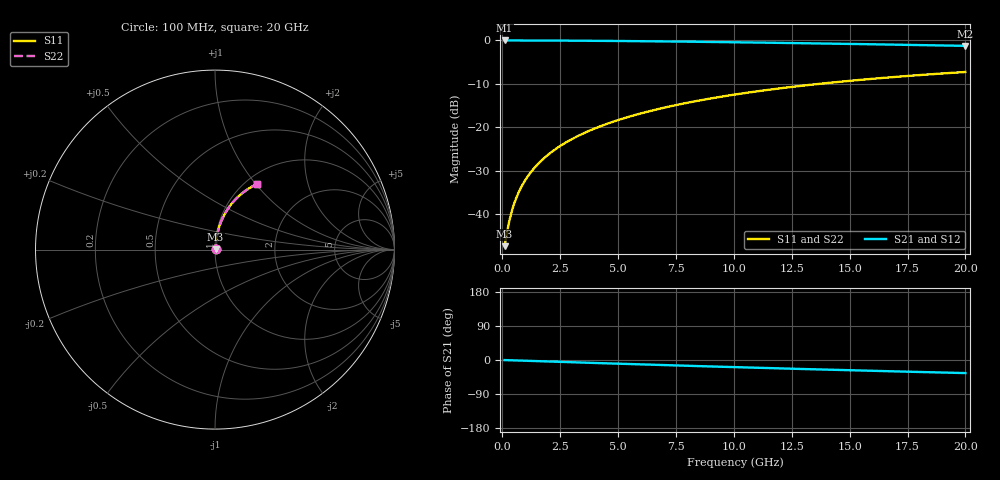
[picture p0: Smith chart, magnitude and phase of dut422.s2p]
! Touchstone file exported from HFSS 2024.1.0
!  File:  C:/UserFiles/LocalFiles/RDL_TSV_Batchsim/temp_RDL_bottom_422_1779683833.aedt
!  Generated:  12:40:07 PM May 25, 2026
!  Design:  RDL_bottom
!  Project:  temp_RDL_bottom_422_1779683833
!  Setup:  Setup1
!  Solution:  Sweep
! Variables:
!  dtsv = 10.80580581um
!  hbump = 3um
!  htsv = 71.13um
!  ldown = 384.78um
!  lrdl = 100um
!  p = 40
!  p1 = 58.03um
!  rhole = 1um
!  t = 450um
!  tdown = 3.5um
!  trdl = 3.915915916um
!  wdown = 11.61um
!  wrdl = 20um
# GHz S MA R 50.000000
! Terminal data exported
! Port[1] = RDL1_T1
! Port[2] = RDL1_T2
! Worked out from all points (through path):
!   200 points, 100 MHz to 20 GHz, reference 50 ohm
!   highest |S21| = -0.03 dB at 100 MHz (marker M1); lowest = -1.3 dB at 20 GHz (marker M2)
!   group delay of S21, straight-line fit = 4.79 ps
!   lowest |S11| = -47.4 dB at 100 MHz (marker M3), VSWR 1.01, Z = 50.3 + j0.25 ohm
!   |S11| at or under -10 dB: start of sweep to 13.73 GHz
!   |S22| runs from -47.4 to -7.3 dB; largest |S21 - S12| = 3.3e-15
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0.1  0.004256 35.7  0.9965 -0.2  0.9965 -0.2  0.004256 35.7
! Gamma 0 0 0 0
! Port Impedance 50 0 50 0
0.2  0.006076 54.7  0.9965 -0.4  0.9965 -0.4  0.006076 54.7
0.3  0.008242 64.2  0.9964 -0.6  0.9964 -0.6  0.008242 64.2
0.4  0.01053 69.5  0.9963 -0.8  0.9963 -0.8  0.01053 69.5
0.5  0.01286 72.8  0.9962 -1.0  0.9962 -1.0  0.01286 72.8
0.6  0.01521 75.1  0.9961 -1.2  0.9961 -1.2  0.01521 75.1
0.8  0.01995 77.9  0.9959 -1.6  0.9959 -1.6  0.01995 77.9
1.1  0.02709 80.1  0.9955 -2.2  0.9955 -2.2  0.02709 80.2
1.5  0.03666 81.5  0.9948 -3.0  0.9948 -3.0  0.03666 81.5
1.8  0.04385 82.0  0.9943 -3.6  0.9943 -3.6  0.04385 82.0
2.1  0.05106 82.2  0.9936 -4.2  0.9936 -4.2  0.05106 82.3
2.7  0.06548 82.2  0.992 -5.3  0.992 -5.3  0.06548 82.2
3.5  0.0847 81.7  0.9893 -6.9  0.9893 -6.9  0.0847 81.7
4.2  0.1015 81.0  0.9865 -8.2  0.9865 -8.2  0.1015 81.0
5  0.1206 80.0  0.9828 -9.7  0.9828 -9.7  0.1206 80.0
5.9  0.142 78.8  0.978 -11.4  0.978 -11.4  0.142 78.8
6.8  0.1632 77.5  0.9727 -13.1  0.9727 -13.1  0.1632 77.5
8.3  0.198 75.2  0.9629 -15.8  0.9629 -15.8  0.198 75.2
10.1  0.2387 72.4  0.9498 -19.0  0.9498 -19.0  0.2387 72.4
13.4  0.3094 67.3  0.9231 -24.5  0.9231 -24.5  0.3094 67.3
16.7  0.374 62.2  0.894 -29.7  0.894 -29.7  0.374 62.2
20  0.4319 57.5  0.8636 -34.5  0.8636 -34.5  0.432 57.5
